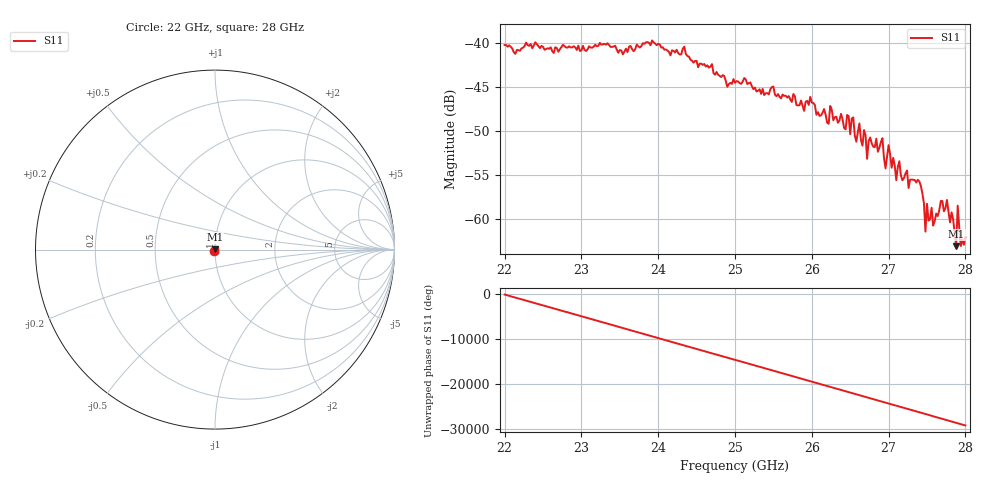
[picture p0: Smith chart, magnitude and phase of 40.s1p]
#  HZ  S  RI  R  50.00
! Rohde & Schwarz ZVA40 4Ports - Version 3.90 - 1145.1110k42 SN: 100403
! Date: 2023-10-04 08:46:21
! Measurement: S12
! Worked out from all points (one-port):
!   301 points, 22 GHz to 28 GHz, reference 50 ohm
!   lowest |S11| = -63.1 dB at 27.88 GHz (marker M1), VSWR 1.00, Z = 50 + j0.0697 ohm
!   |S11| at or under -10 dB: start of sweep to end of sweep
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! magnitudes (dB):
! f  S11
! 22 GHz  -40.3
! 22.76 GHz  -40.3
! 23.5 GHz  -40.8
! 24.26 GHz  -41.2
! 25 GHz  -44.6
! 25.76 GHz  -45.8
! 26.22 GHz  -49.2
! 26.24 GHz  -47.2
! 26.46 GHz  -48.2
! 26.5 GHz  -50.4
! 26.68 GHz  -49.9
! 26.72 GHz  -53.2
! 26.76 GHz  -50.8
! 26.92 GHz  -50.8
! 26.96 GHz  -54.3
! 27 GHz  -51.6
! 27.1 GHz  -55.6
! 27.14 GHz  -53.4
! 27.26 GHz  -56.5
! 27.4 GHz  -55.7
! 27.48 GHz  -61.4
! 27.5 GHz  -58.3
! 27.58 GHz  -60.7
! 27.76 GHz  -57.8
! 27.88 GHz  -63.1
! 27.9 GHz  -58.5
! 27.94 GHz  -63.1
! 28 GHz  -62.1
